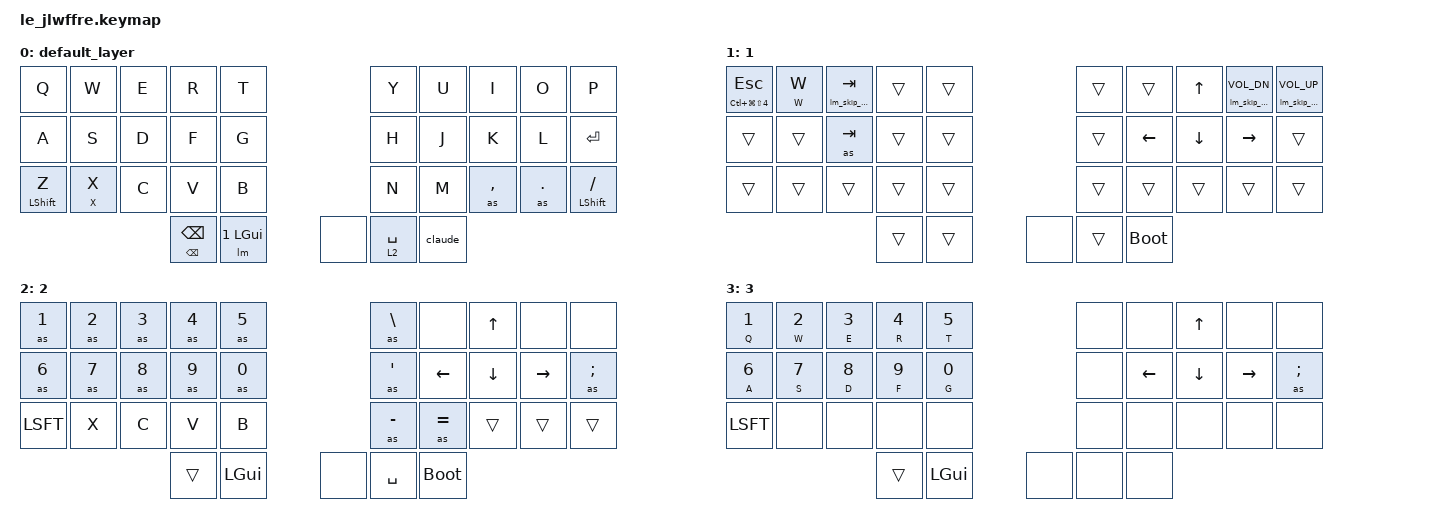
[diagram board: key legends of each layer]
/*
 * Copyright (c) 2025 The ZMK Contributors
 * MIT
 */

#include <behaviors.dtsi>
#include <dt-bindings/zmk/keys.h>
#include <dt-bindings/zmk/bt.h>

// Home row mods macro
#define HRML(k1,k2,k3) &ht LGUI  k1 &ht LALT k2  &ht LCTRL k3
#define HRMR(k1,k2,k3) &ht RCTRL k1 &ht LALT k2  &ht RGUI  k3

/ {
    behaviors {
        combos {
            compatible = "zmk,combos";
            test0 { timeout-ms = <25>;  require-prior-idle-ms = <250>;  key-positions = <0 1>;      bindings = <&soft_off>;     }; 
            test1 { timeout-ms = <25>;  require-prior-idle-ms = <250>;  key-positions = <1 2>;      bindings = <&as RBKT>;      }; 
            test2 { timeout-ms = <25>;  require-prior-idle-ms = <250>;  key-positions = <2 3>;      bindings = <&kp LS(RET)>;   };     
            test3 { timeout-ms = <25>;  require-prior-idle-ms = <250>;  key-positions = <11 12>;    bindings = <&as LBKT>;      };      
            test4 { timeout-ms = <25>;  require-prior-idle-ms = <250>;  key-positions = <12 13>;    bindings = <&kp RET>;       };      
            test6 { timeout-ms = <25>;  require-prior-idle-ms = <250>;  key-positions = <22 23>;    bindings = <&kp LC(C) >;    };       
        };

        ht: hold_tap {
            compatible = "zmk,behavior-hold-tap";
            #binding-cells = <2>;
            flavor = "tap-preferred";
            tapping-term-ms = <200>;
            quick-tap-ms = <220>;
            require-prior-idle-ms = <250>;
            bindings = <&kp>, <&kp>;
        };

        htskip: hold_tap_skip {
            compatible = "zmk,behavior-hold-tap";
            #binding-cells = <2>;
            flavor = "tap-preferred";
            tapping-term-ms = <200>;
            quick-tap-ms = <220>;
            require-prior-idle-ms = <250>;
            bindings = <&kp>, <&lm_skip_mod>;
        };

        htkeepskip: htkeepskip {
            compatible = "zmk,behavior-hold-tap";
            #binding-cells = <2>;
            flavor = "tap-preferred";
            tapping-term-ms = <200>;
            quick-tap-ms = <220>;
            require-prior-idle-ms = <100>;
            bindings =  <&kp>, <&lms_alt>; // die eerste is dus met ALT. Die tweede zonder
        };

        mt: mod_tap {
            flavor = "hold-preferred";
            #binding-cells = <2>;
            tapping-term-ms = <120>;
            quick-tap-ms = <220>;
            require-prior-idle-ms = <10>;
            bindings = <&kp>, <&kp>;
        };

        as_ht: autoshift_hold_tap {
            compatible = "zmk,behavior-hold-tap";
            #binding-cells = <2>;
            tapping-term-ms = <250>;
            bindings = <&shifted>, <&kp>;
            flavor = "tap-preferred";
        };

        b_ht: blocked_holdtap {
            compatible = "zmk,behavior-hold-tap";
            #binding-cells = <2>;
            tapping-term-ms = <250>;
            bindings = <&kp>, <&none>;
            flavor = "tap-preferred";
        };

        ht_mt: ht_mt {
            compatible = "zmk,behavior-hold-tap";
            #binding-cells = <2>;
            flavor = "tap-preferred";
            tapping-term-ms = <190>;
            quick-tap-ms = <220>;
            require-prior-idle-ms = <100>;
            bindings = <&altlm>, <&kp>;
        };
    };

    macros {

        claude: claude {
            compatible = "zmk,behavior-macro";
            #binding-cells = <0>;
            bindings = <&macro_press &kp LALT>,
                       <&macro_tap &kp SPACE>,
                       <&macro_release &kp LALT>;
        };


        altlm: altlm {
            #binding-cells = <0>;
            compatible = "zmk,behavior-macro";
            bindings =            
            <&macro_press &lm 3 LALT>,
            <&macro_pause_for_release>,
            <&macro_release &lm 3 LALT>;   
        };


        lm_skip_mod: lm_skip_mod {
            #binding-cells = <1>;
            compatible = "zmk,behavior-macro-one-param";
            bindings =            
            <&macro_release &kp LGUI>,  
            <&macro_param_1to1>,          
            <&macro_tap &kp MACRO_PLACEHOLDER>,
            <&macro_press &kp LGUI>,
            <&macro_pause_for_release>,
            <&macro_release &kp LGUI>;
        };

        lms_alt: lms_alt {
            #binding-cells = <1>;
            compatible = "zmk,behavior-macro-one-param";
            bindings =            
            <&macro_release &kp LALT>,  
            <&macro_param_1to1>,          
            <&macro_tap &kp MACRO_PLACEHOLDER>,
            <&macro_press &kp LALT>,
            <&macro_pause_for_release>,
            <&macro_release &kp LALT>;
        };

      
        lm: lm {
            compatible = "zmk,behavior-macro-two-param";
            wait-ms = <0>;
            tap-ms = <0>;
            #binding-cells = <2>;
            bindings
                = <&macro_param_1to1>
                , <&macro_press &mo MACRO_PLACEHOLDER>
                , <&macro_param_2to1>
                , <&macro_press &kp MACRO_PLACEHOLDER>
                , <&macro_pause_for_release>
                , <&macro_param_2to1>
                , <&macro_release &kp MACRO_PLACEHOLDER>
                , <&macro_param_1to1>
                , <&macro_release &mo MACRO_PLACEHOLDER>
                ;
        };
        shifted: macro_shifted_kp {
            #binding-cells = <1>;
            compatible = "zmk,behavior-macro-one-param";
            bindings =
              <&macro_press &kp LSHFT>,
              <&macro_param_1to1 &macro_tap &kp MACRO_PLACEHOLDER>,
              <&macro_release &kp LSHFT>;
        };              
        as: autoshift {
            compatible = "zmk,behavior-macro-one-param";
            #binding-cells = <1>;
            bindings =
              <&macro_press>,
              <&macro_param_1to1>,
              <&macro_param_1to2>,
              <&as_ht MACRO_PLACEHOLDER MACRO_PLACEHOLDER>,
              <&macro_pause_for_release>,
              <&macro_release>,
              <&macro_param_1to1>,
              <&macro_param_1to2>,
              <&as_ht MACRO_PLACEHOLDER MACRO_PLACEHOLDER>;
        };

    };

    keymap {
        compatible = "zmk,keymap";
        default_layer {
            bindings = <
        //╭──────────┬──────────┬──────────┬──────────┬──────────╮                                 ╭──────────┬──────────┬──────────┬──────────┬──────────╮
            &kp Q      &kp W       &kp E      &kp R      &kp T                                        &kp Y      &kp U      &kp I      &kp O      &kp P
        //├──────────┼──────────┼──────────┼──────────┼──────────┤                                 ├──────────┼──────────┼──────────┼──────────┼──────────┤
            &kp A      &kp S       &kp D      &kp F      &kp G                                        &kp H      &kp J      &kp K      &kp L     &kp ENTER     
        //├──────────┼──────────┼──────────┼──────────┼──────────┤                                 ├──────────┼──────────┼──────────┼──────────┼──────────┤
            &mt LSHIFT Z &ht_mt X X  &kp C    &kp V      &kp B                                        &kp N      &kp M      &as COMMA  &as DOT    &mt LSHIFT FSLH
        //╰──────────┴──────────┴──────────┼──────────┼──────────┤                                 ├──────────┼──────────┼──────────┴──────────┴──────────╯
                                            &ht_mt BSPC BSPC    &lm 1 LGUI          &none              &lt 2 SPACE   &claude
        //                                 ╰──────────┴──────────╯                                 ╰──────────┴──────────╯
            >;            
        };



        1 {
            bindings = <
        //╭─────────────────────┬─────────────────────┬───────────────────┬───────────┬──────────╮              ╭──────────┬──────────┬──────────┬───────────────────────────┬─────────────────────────╮
            &htskip LC(LG(LS(N4))) ESC    &b_ht W W      &lm_skip_mod TAB   &trans     &trans                     &trans     &trans      &kp UP      &lm_skip_mod  C_VOL_DN     &lm_skip_mod C_VOL_UP
        //├─────────────────────┼───────────────-─────┼───────────────────┼───────────┼──────────┤              ├──────────┼──────────┼──────────┼───────────────────────────┼─────────────────────────┤
            &trans                        &trans           &as TAB          &trans       &trans                   &trans     &kp LEFT    &kp DOWN    &kp RIGHT                  &trans
        //├─────────────────────┼───────────────-─────┼───────────────────┼───────────┼──────────┤              ├──────────┼──────────┼──────────┼───────────────────────────┼─────────────────────────┤       
            &trans                        &trans           &trans           &trans        &trans                  &trans     &trans      &trans     &trans                      &trans
        //╰─────────────────────┴─────────────────────┴───────────────────┼───────────┼──────────┤              ├──────────┼──────────┼──────────┴───────────────────────────┴─────────────────────────╯
                                                                            &trans       &trans      &none        &trans     &bootloader
        //                                                                ╰───────────┴──────────╯              ╰──────────┴──────────╯
            >;            
        };


        2 {
            bindings = <
        //╭──────────┬──────────┬──────────┬──────────┬──────────╮                  ╭──────────┬─────────────┬──────────┬─────────────┬──────────────────╮
            &as N1     &as N2     &as N3     &as N4     &as N5                          &as BSLH   &none        &kp UP      &none          &none
        //├──────────┼──────────┼──────────┼──────────┼──────────┤                  ├──────────┼─────────────┼──────────┼─────────────┼──────────────────┤
            &as N6     &as N7    &as N8      &as N9     &as N0                          &as APOS   &kp LEFT     &kp DOWN    &kp RIGHT      &as SEMI
        //├──────────┼──────────┼──────────┼──────────┼──────────┤                  ├──────────┼─────────────┼──────────┼─────────────┼──────────────────┤
        //╰──────────┴──────────┴──────────┼──────────┼──────────┤                  ├──────────┼─────────────┼──────────┴─────────────┴──────────────────╯
            &kp LSFT    &kp X       &kp C     &kp V     &kp B                           &as MINUS  &as EQUAL    &trans      &trans         &trans
            
                                             &trans     &kp LGUI        &none           &kp SPACE     &bootloader
        //                                 ╰──────────┴──────────╯                  ╰──────────┴─────────────╯
            >;            
        };

        3 {
            bindings = <
        //╭───────────────┬───────────────┬───────────────┬───────────────┬───────────────╮                          ╭──────────┬─────────────┬──────────┬─────────────┬──────────────────╮
            &htkeepskip Q N1     &htkeepskip W N2     &htkeepskip E N3      &htkeepskip R N4     &htkeepskip T N5      &none       &none       &kp UP      &none          &none
        //├───────────────┼───────────────┼───────────────┼───────────────┼───────────────┤                          ├──────────┼─────────────┼──────────┼─────────────┼──────────────────┤
            &htkeepskip A N6     &htkeepskip S N7     &htkeepskip D N8      &htkeepskip F N9     &htkeepskip G N0      &none       &kp LEFT     &kp DOWN    &kp RIGHT        &as SEMI
        //├───────────────┼───────────────┼───────────────┼───────────────┼───────────────┤                          ├──────────┼─────────────┼──────────┼─────────────┼──────────────────┤
            &kp LSFT            &none            &none            &none          &none                                  &none       &none       &none      &none          &none
        //╰───────────────┴───────────────┴───────────────┼───────────────┼───────────────┤                          ├──────────┼─────────────┼──────────┴─────────────┴──────────────────╯
                                                             &trans          &kp LGUI             &none                &none      &none
        //                                                ╰───────────────┴───────────────╯                          ╰──────────┴─────────────╯
            >;            
        };
    };
};
